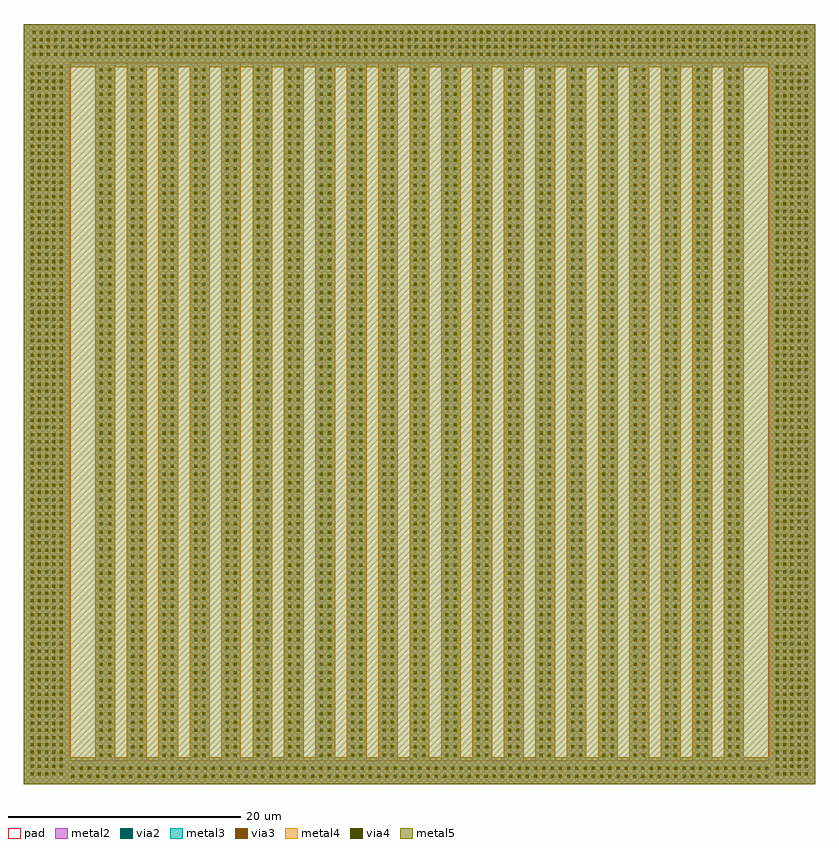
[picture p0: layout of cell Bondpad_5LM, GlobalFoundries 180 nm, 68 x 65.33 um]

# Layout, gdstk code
from math import pi, radians
import gdstk
lib = gdstk.Library(unit=1e-6, precision=1e-09)
def R(c, l, rs):  # rectangles x0, y0, x1, y1
    for r in rs: c.add(gdstk.rectangle(r[:2], r[2:], *l))
def A(c, l, x, y, w, h, nx, ny, dx, dy):  # array of equal rectangles
    R(c, l, [(x+i*dx, y+j*dy, x+i*dx+w, y+j*dy+h) for i in range(nx) for j in range(ny)])
def P(c, l, *ps):  # polygons
    for p in ps: c.add(gdstk.Polygon(p, *l))
metal2 = (36, 0)
pad = (37, 0)
via2 = (38, 0)
via3 = (40, 0)
via4 = (41, 0)
metal3 = (42, 0)
metal4 = (46, 0)
metal5 = (81, 0)

m5_m4_cdns_4066195314553 = lib.new_cell('M5_M4_CDNS_4066195314553')
A(m5_m4_cdns_4066195314553, via4, -33.3, -1.06, 0.26, 0.26, 108, 4, 0.62, 0.62)
R(m5_m4_cdns_4066195314553, metal4, [(-33.36,-1.12,33.36,1.12)])
R(m5_m4_cdns_4066195314553, metal5, [(-33.39,-1.15,33.39,1.15)])

m5_m4_cdns_4066195314554 = lib.new_cell('M5_M4_CDNS_4066195314554')
A(m5_m4_cdns_4066195314554, via4, -30.51, -1.37, 0.26, 0.26, 99, 5, 0.62, 0.62)
R(m5_m4_cdns_4066195314554, metal4, [(-30.57,-1.43,30.57,1.43)])
R(m5_m4_cdns_4066195314554, metal5, [(-30.6,-1.46,30.6,1.46)])

m5_m4_cdns_4066195314555 = lib.new_cell('M5_M4_CDNS_4066195314555')
A(m5_m4_cdns_4066195314555, via4, -29.95, -0.485, 0.26, 0.26, 85, 2, 0.71, 0.71)
R(m5_m4_cdns_4066195314555, metal4, [(-30.01,-0.545,30.01,0.545)])
R(m5_m4_cdns_4066195314555, metal5, [(-30.04,-0.575,30.04,0.575)])

m5_m4_cdns_4066195314556 = lib.new_cell('M5_M4_CDNS_4066195314556')
A(m5_m4_cdns_4066195314556, via4, -29.595, -0.485, 0.26, 0.26, 84, 2, 0.71, 0.71)
R(m5_m4_cdns_4066195314556, metal4, [(-29.655,-0.545,29.655,0.545)])
R(m5_m4_cdns_4066195314556, metal5, [(-29.685,-0.575,29.685,0.575)])

m4_m3_cdns_4066195314546 = lib.new_cell('M4_M3_CDNS_4066195314546')
A(m4_m3_cdns_4066195314546, via3, -33.3, -1.06, 0.26, 0.26, 108, 4, 0.62, 0.62)
R(m4_m3_cdns_4066195314546, metal3, [(-33.36,-1.12,33.36,1.12)])
R(m4_m3_cdns_4066195314546, metal4, [(-33.36,-1.12,33.36,1.12)])

m4_m3_cdns_4066195314547 = lib.new_cell('M4_M3_CDNS_4066195314547')
A(m4_m3_cdns_4066195314547, via3, -30.51, -1.37, 0.26, 0.26, 99, 5, 0.62, 0.62)
R(m4_m3_cdns_4066195314547, metal3, [(-30.57,-1.43,30.57,1.43)])
R(m4_m3_cdns_4066195314547, metal4, [(-30.57,-1.43,30.57,1.43)])

m4_m3_cdns_4066195314549 = lib.new_cell('M4_M3_CDNS_4066195314549')
A(m4_m3_cdns_4066195314549, via3, -29.95, -0.485, 0.26, 0.26, 85, 2, 0.71, 0.71)
R(m4_m3_cdns_4066195314549, metal3, [(-30.01,-0.545,30.01,0.545)])
R(m4_m3_cdns_4066195314549, metal4, [(-30.01,-0.545,30.01,0.545)])

m4_m3_cdns_4066195314551 = lib.new_cell('M4_M3_CDNS_4066195314551')
A(m4_m3_cdns_4066195314551, via3, -29.595, -0.485, 0.26, 0.26, 84, 2, 0.71, 0.71)
R(m4_m3_cdns_4066195314551, metal3, [(-29.655,-0.545,29.655,0.545)])
R(m4_m3_cdns_4066195314551, metal4, [(-29.655,-0.545,29.655,0.545)])

m3_m2_cdns_4066195314545 = lib.new_cell('M3_M2_CDNS_4066195314545')
R(m3_m2_cdns_4066195314545, metal2, [(-30.57,-1.43,30.57,1.43)])
A(m3_m2_cdns_4066195314545, via2, -30.51, -1.37, 0.26, 0.26, 99, 5, 0.62, 0.62)
R(m3_m2_cdns_4066195314545, metal3, [(-30.57,-1.43,30.57,1.43)])

m3_m2_cdns_4066195314548 = lib.new_cell('M3_M2_CDNS_4066195314548')
R(m3_m2_cdns_4066195314548, metal2, [(-33.36,-1.12,33.36,1.12)])
A(m3_m2_cdns_4066195314548, via2, -33.3, -1.06, 0.26, 0.26, 108, 4, 0.62, 0.62)
R(m3_m2_cdns_4066195314548, metal3, [(-33.36,-1.12,33.36,1.12)])

m3_m2_cdns_4066195314550 = lib.new_cell('M3_M2_CDNS_4066195314550')
R(m3_m2_cdns_4066195314550, metal2, [(-30.01,-0.545,30.01,0.545)])
A(m3_m2_cdns_4066195314550, via2, -29.95, -0.485, 0.26, 0.26, 85, 2, 0.71, 0.71)
R(m3_m2_cdns_4066195314550, metal3, [(-30.01,-0.545,30.01,0.545)])

m3_m2_cdns_4066195314552 = lib.new_cell('M3_M2_CDNS_4066195314552')
R(m3_m2_cdns_4066195314552, metal2, [(-29.655,-0.545,29.655,0.545)])
A(m3_m2_cdns_4066195314552, via2, -29.595, -0.485, 0.26, 0.26, 84, 2, 0.71, 0.71)
R(m3_m2_cdns_4066195314552, metal3, [(-29.655,-0.545,29.655,0.545)])

bondpad_5lm = lib.new_cell('Bondpad_5LM')
R(bondpad_5lm, metal2, [(0,0,64,2), (-2,62,66,64), (-2,64,66,65.325)])
R(bondpad_5lm, pad, [(2,2,62,62)])
R(bondpad_5lm, metal3, [(-2,64,66,65.325)])
P(bondpad_5lm, metal3, [(-2,0),(-2,64),(66,64),(66,0),(2,0),(2,2.29),(62,2.29),(62,61.6),(2,61.6),(2,0)])
R(bondpad_5lm, metal4, [(-2,64,66,65.325)])
P(bondpad_5lm, metal4, [(-2,0),(-2,64),(66,64),(66,0),(2,0),(2,2.29),(62,2.29),(62,61.6),(2,61.6),(2,0)])
R(bondpad_5lm, metal5, [(-2,0,66,64), (-2,64,66,65.325)])
bondpad_5lm.add(gdstk.FlexPath([(7.7,62.205),(7.7,1.27)], 1.7, ends="flush", simple_path=True, layer=36, datatype=0))  # metal2
bondpad_5lm.add(gdstk.FlexPath([(10.4,62.205),(10.4,1.27)], 1.7, ends="flush", simple_path=True, layer=36, datatype=0))  # metal2
bondpad_5lm.add(gdstk.FlexPath([(13.1,62.205),(13.1,1.27)], 1.7, ends="flush", simple_path=True, layer=36, datatype=0))  # metal2
bondpad_5lm.add(gdstk.FlexPath([(15.8,62.205),(15.8,1.27)], 1.7, ends="flush", simple_path=True, layer=36, datatype=0))  # metal2
bondpad_5lm.add(gdstk.FlexPath([(18.5,62.205),(18.5,1.27)], 1.7, ends="flush", simple_path=True, layer=36, datatype=0))  # metal2
bondpad_5lm.add(gdstk.FlexPath([(21.2,62.205),(21.2,1.27)], 1.7, ends="flush", simple_path=True, layer=36, datatype=0))  # metal2
bondpad_5lm.add(gdstk.FlexPath([(23.9,62.205),(23.9,1.27)], 1.7, ends="flush", simple_path=True, layer=36, datatype=0))  # metal2
bondpad_5lm.add(gdstk.FlexPath([(26.6,62.205),(26.6,1.27)], 1.7, ends="flush", simple_path=True, layer=36, datatype=0))  # metal2
bondpad_5lm.add(gdstk.FlexPath([(29.3,62.205),(29.3,1.27)], 1.7, ends="flush", simple_path=True, layer=36, datatype=0))  # metal2
bondpad_5lm.add(gdstk.FlexPath([(32,62.205),(32,1.27)], 1.7, ends="flush", simple_path=True, layer=36, datatype=0))  # metal2
bondpad_5lm.add(gdstk.FlexPath([(34.7,62.205),(34.7,1.27)], 1.7, ends="flush", simple_path=True, layer=36, datatype=0))  # metal2
bondpad_5lm.add(gdstk.FlexPath([(37.4,62.205),(37.4,1.27)], 1.7, ends="flush", simple_path=True, layer=36, datatype=0))  # metal2
bondpad_5lm.add(gdstk.FlexPath([(40.1,62.205),(40.1,1.27)], 1.7, ends="flush", simple_path=True, layer=36, datatype=0))  # metal2
bondpad_5lm.add(gdstk.FlexPath([(42.8,62.205),(42.8,1.27)], 1.7, ends="flush", simple_path=True, layer=36, datatype=0))  # metal2
bondpad_5lm.add(gdstk.FlexPath([(45.5,62.205),(45.5,1.27)], 1.7, ends="flush", simple_path=True, layer=36, datatype=0))  # metal2
bondpad_5lm.add(gdstk.FlexPath([(48.2,62.205),(48.2,1.27)], 1.7, ends="flush", simple_path=True, layer=36, datatype=0))  # metal2
bondpad_5lm.add(gdstk.FlexPath([(50.9,62.205),(50.9,1.27)], 1.7, ends="flush", simple_path=True, layer=36, datatype=0))  # metal2
bondpad_5lm.add(gdstk.FlexPath([(53.6,62.205),(53.6,1.27)], 1.7, ends="flush", simple_path=True, layer=36, datatype=0))  # metal2
bondpad_5lm.add(gdstk.FlexPath([(56.3,62.205),(56.3,1.27)], 1.7, ends="flush", simple_path=True, layer=36, datatype=0))  # metal2
bondpad_5lm.add(gdstk.FlexPath([(59,62.205),(59,1.27)], 1.7, ends="flush", simple_path=True, layer=36, datatype=0))  # metal2
bondpad_5lm.add(gdstk.FlexPath([(5,62.205),(5,1.27)], 1.7, ends="flush", simple_path=True, layer=36, datatype=0))  # metal2
bondpad_5lm.add(gdstk.FlexPath([(1,62.205),(1,1.27)], 2, ends="flush", simple_path=True, layer=36, datatype=0))  # metal2
bondpad_5lm.add(gdstk.FlexPath([(-1,62.205),(-1,0)], 2, ends="flush", simple_path=True, layer=36, datatype=0))  # metal2
bondpad_5lm.add(gdstk.FlexPath([(65,62.205),(65,0)], 2, ends="flush", simple_path=True, layer=36, datatype=0))  # metal2
bondpad_5lm.add(gdstk.FlexPath([(63,62.205),(63,1.27)], 2, ends="flush", simple_path=True, layer=36, datatype=0))  # metal2
bondpad_5lm.add(gdstk.FlexPath([(7.7,62.205),(7.7,1.27)], 1.7, ends="flush", simple_path=True, layer=42, datatype=0))  # metal3
bondpad_5lm.add(gdstk.FlexPath([(10.4,62.205),(10.4,1.27)], 1.7, ends="flush", simple_path=True, layer=42, datatype=0))  # metal3
bondpad_5lm.add(gdstk.FlexPath([(13.1,62.205),(13.1,1.27)], 1.7, ends="flush", simple_path=True, layer=42, datatype=0))  # metal3
bondpad_5lm.add(gdstk.FlexPath([(15.8,62.205),(15.8,1.27)], 1.7, ends="flush", simple_path=True, layer=42, datatype=0))  # metal3
bondpad_5lm.add(gdstk.FlexPath([(18.5,62.205),(18.5,1.27)], 1.7, ends="flush", simple_path=True, layer=42, datatype=0))  # metal3
bondpad_5lm.add(gdstk.FlexPath([(21.2,62.205),(21.2,1.27)], 1.7, ends="flush", simple_path=True, layer=42, datatype=0))  # metal3
bondpad_5lm.add(gdstk.FlexPath([(23.9,62.205),(23.9,1.27)], 1.7, ends="flush", simple_path=True, layer=42, datatype=0))  # metal3
bondpad_5lm.add(gdstk.FlexPath([(26.6,62.205),(26.6,1.27)], 1.7, ends="flush", simple_path=True, layer=42, datatype=0))  # metal3
bondpad_5lm.add(gdstk.FlexPath([(29.3,62.205),(29.3,1.27)], 1.7, ends="flush", simple_path=True, layer=42, datatype=0))  # metal3
bondpad_5lm.add(gdstk.FlexPath([(32,62.205),(32,1.27)], 1.7, ends="flush", simple_path=True, layer=42, datatype=0))  # metal3
bondpad_5lm.add(gdstk.FlexPath([(34.7,62.205),(34.7,1.27)], 1.7, ends="flush", simple_path=True, layer=42, datatype=0))  # metal3
bondpad_5lm.add(gdstk.FlexPath([(37.4,62.205),(37.4,1.27)], 1.7, ends="flush", simple_path=True, layer=42, datatype=0))  # metal3
bondpad_5lm.add(gdstk.FlexPath([(40.1,62.205),(40.1,1.27)], 1.7, ends="flush", simple_path=True, layer=42, datatype=0))  # metal3
bondpad_5lm.add(gdstk.FlexPath([(42.8,62.205),(42.8,1.27)], 1.7, ends="flush", simple_path=True, layer=42, datatype=0))  # metal3
bondpad_5lm.add(gdstk.FlexPath([(45.5,62.205),(45.5,1.27)], 1.7, ends="flush", simple_path=True, layer=42, datatype=0))  # metal3
bondpad_5lm.add(gdstk.FlexPath([(48.2,62.205),(48.2,1.27)], 1.7, ends="flush", simple_path=True, layer=42, datatype=0))  # metal3
bondpad_5lm.add(gdstk.FlexPath([(50.9,62.205),(50.9,1.27)], 1.7, ends="flush", simple_path=True, layer=42, datatype=0))  # metal3
bondpad_5lm.add(gdstk.FlexPath([(53.6,62.205),(53.6,1.27)], 1.7, ends="flush", simple_path=True, layer=42, datatype=0))  # metal3
bondpad_5lm.add(gdstk.FlexPath([(56.3,62.205),(56.3,1.27)], 1.7, ends="flush", simple_path=True, layer=42, datatype=0))  # metal3
bondpad_5lm.add(gdstk.FlexPath([(59,62.205),(59,1.27)], 1.7, ends="flush", simple_path=True, layer=42, datatype=0))  # metal3
bondpad_5lm.add(gdstk.FlexPath([(5,62.205),(5,1.27)], 1.7, ends="flush", simple_path=True, layer=42, datatype=0))  # metal3
bondpad_5lm.add(gdstk.FlexPath([(7.7,62.205),(7.7,1.27)], 1.7, ends="flush", simple_path=True, layer=46, datatype=0))  # metal4
bondpad_5lm.add(gdstk.FlexPath([(10.4,62.205),(10.4,1.27)], 1.7, ends="flush", simple_path=True, layer=46, datatype=0))  # metal4
bondpad_5lm.add(gdstk.FlexPath([(13.1,62.205),(13.1,1.27)], 1.7, ends="flush", simple_path=True, layer=46, datatype=0))  # metal4
bondpad_5lm.add(gdstk.FlexPath([(15.8,62.205),(15.8,1.27)], 1.7, ends="flush", simple_path=True, layer=46, datatype=0))  # metal4
bondpad_5lm.add(gdstk.FlexPath([(18.5,62.205),(18.5,1.27)], 1.7, ends="flush", simple_path=True, layer=46, datatype=0))  # metal4
bondpad_5lm.add(gdstk.FlexPath([(21.2,62.205),(21.2,1.27)], 1.7, ends="flush", simple_path=True, layer=46, datatype=0))  # metal4
bondpad_5lm.add(gdstk.FlexPath([(23.9,62.205),(23.9,1.27)], 1.7, ends="flush", simple_path=True, layer=46, datatype=0))  # metal4
bondpad_5lm.add(gdstk.FlexPath([(26.6,62.205),(26.6,1.27)], 1.7, ends="flush", simple_path=True, layer=46, datatype=0))  # metal4
bondpad_5lm.add(gdstk.FlexPath([(29.3,62.205),(29.3,1.27)], 1.7, ends="flush", simple_path=True, layer=46, datatype=0))  # metal4
bondpad_5lm.add(gdstk.FlexPath([(32,62.205),(32,1.27)], 1.7, ends="flush", simple_path=True, layer=46, datatype=0))  # metal4
bondpad_5lm.add(gdstk.FlexPath([(34.7,62.205),(34.7,1.27)], 1.7, ends="flush", simple_path=True, layer=46, datatype=0))  # metal4
bondpad_5lm.add(gdstk.FlexPath([(37.4,62.205),(37.4,1.27)], 1.7, ends="flush", simple_path=True, layer=46, datatype=0))  # metal4
bondpad_5lm.add(gdstk.FlexPath([(40.1,62.205),(40.1,1.27)], 1.7, ends="flush", simple_path=True, layer=46, datatype=0))  # metal4
bondpad_5lm.add(gdstk.FlexPath([(42.8,62.205),(42.8,1.27)], 1.7, ends="flush", simple_path=True, layer=46, datatype=0))  # metal4
bondpad_5lm.add(gdstk.FlexPath([(45.5,62.205),(45.5,1.27)], 1.7, ends="flush", simple_path=True, layer=46, datatype=0))  # metal4
bondpad_5lm.add(gdstk.FlexPath([(48.2,62.205),(48.2,1.27)], 1.7, ends="flush", simple_path=True, layer=46, datatype=0))  # metal4
bondpad_5lm.add(gdstk.FlexPath([(50.9,62.205),(50.9,1.27)], 1.7, ends="flush", simple_path=True, layer=46, datatype=0))  # metal4
bondpad_5lm.add(gdstk.FlexPath([(53.6,62.205),(53.6,1.27)], 1.7, ends="flush", simple_path=True, layer=46, datatype=0))  # metal4
bondpad_5lm.add(gdstk.FlexPath([(56.3,62.205),(56.3,1.27)], 1.7, ends="flush", simple_path=True, layer=46, datatype=0))  # metal4
bondpad_5lm.add(gdstk.FlexPath([(59,62.205),(59,1.27)], 1.7, ends="flush", simple_path=True, layer=46, datatype=0))  # metal4
bondpad_5lm.add(gdstk.FlexPath([(5,62.205),(5,1.27)], 1.7, ends="flush", simple_path=True, layer=46, datatype=0))  # metal4
bondpad_5lm.add(gdstk.Reference(m5_m4_cdns_4066195314553, (32.04,63.675)))
bondpad_5lm.add(gdstk.Reference(m5_m4_cdns_4066195314554, (64.01,31.27), rotation=pi/2))
bondpad_5lm.add(gdstk.Reference(m5_m4_cdns_4066195314554, (-0.05,31.27), rotation=pi/2))
bondpad_5lm.add(gdstk.Reference(m5_m4_cdns_4066195314555, (32.035,1.015)))
r = gdstk.Reference(m5_m4_cdns_4066195314556, (59.01,31.945), rotation=pi/2); r.repetition = gdstk.Repetition(1, 21, v1=(0,0), v2=(-2.7,0)); bondpad_5lm.add(r)
bondpad_5lm.add(gdstk.Reference(m4_m3_cdns_4066195314546, (32.04,63.675)))
bondpad_5lm.add(gdstk.Reference(m4_m3_cdns_4066195314547, (64.01,31.27), rotation=pi/2))
bondpad_5lm.add(gdstk.Reference(m4_m3_cdns_4066195314547, (-0.05,31.27), rotation=pi/2))
bondpad_5lm.add(gdstk.Reference(m4_m3_cdns_4066195314549, (32.035,1.015)))
r = gdstk.Reference(m4_m3_cdns_4066195314551, (59.01,31.945), rotation=pi/2); r.repetition = gdstk.Repetition(1, 21, v1=(0,0), v2=(-2.7,0)); bondpad_5lm.add(r)
bondpad_5lm.add(gdstk.Reference(m3_m2_cdns_4066195314545, (-0.05,31.27), rotation=pi/2))
bondpad_5lm.add(gdstk.Reference(m3_m2_cdns_4066195314545, (-0.05,31.27), rotation=pi/2))
bondpad_5lm.add(gdstk.Reference(m3_m2_cdns_4066195314545, (64.01,31.27), rotation=pi/2))
bondpad_5lm.add(gdstk.Reference(m3_m2_cdns_4066195314545, (64.01,31.27), rotation=pi/2))
bondpad_5lm.add(gdstk.Reference(m3_m2_cdns_4066195314548, (32.04,63.675)))
bondpad_5lm.add(gdstk.Reference(m3_m2_cdns_4066195314548, (32.04,63.675)))
bondpad_5lm.add(gdstk.Reference(m3_m2_cdns_4066195314550, (32.035,1.015)))
bondpad_5lm.add(gdstk.Reference(m3_m2_cdns_4066195314550, (32.035,1.015)))
r = gdstk.Reference(m3_m2_cdns_4066195314552, (59.01,31.945), rotation=pi/2); r.repetition = gdstk.Repetition(1, 21, v1=(0,0), v2=(-2.7,0)); bondpad_5lm.add(r)

lib.write_gds('Bondpad_5LM.gds')
